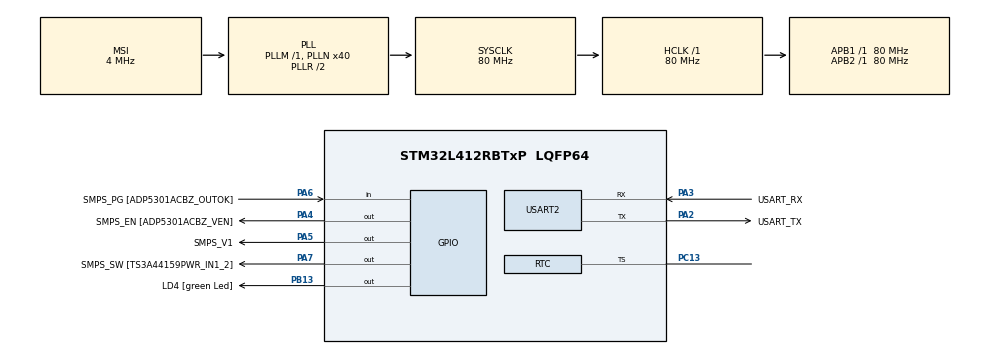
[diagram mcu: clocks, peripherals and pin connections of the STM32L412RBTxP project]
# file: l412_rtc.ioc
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Mcu.Family=STM32L4
PA2.GPIO_PuPd=GPIO_NOPULL
RCC.CortexFreq_Value=80000000
PH0-OSC_IN\ (PH0).Signal=RCC_OSC_IN
PA3.GPIO_PuPd=GPIO_NOPULL
PA2.GPIO_Speed=GPIO_SPEED_FREQ_VERY_HIGH
VP_RTC_VS_RTC_Activate.Mode=RTC_Enabled
PA6.GPIO_Label=SMPS_PG [ADP5301ACBZ_OUTOK]
PC15-OSC32_OUT\ (PC15).Mode=LSE-External-Oscillator
PB13.GPIO_Label=LD4 [green Led]
PA3.GPIO_Speed=GPIO_SPEED_FREQ_VERY_HIGH
PB13.Signal=GPIO_Output
RCC.SYSCLKSource=RCC_SYSCLKSOURCE_PLLCLK
ProjectManager.StackSize=0x400
PC14-OSC32_IN\ (PC14).Mode=LSE-External-Oscillator
PA14\ (JTCK/SWCLK).Signal=SYS_JTCK-SWCLK
RCC.HCLKFreq_Value=80000000
RCC.FLatency=FLASH_LATENCY_4
RCC.APB2TimFreq_Value=80000000
RCC.HSICalibrationValue=16
RCC.AHBFreq_Value=80000000
RCC.PREFETCH_ENABLE=1
RCC.HSE_VALUE=8000000
USART2.VirtualMode-Asynchronous=VM_ASYNC
PA13\ (JTMS/SWDIO).GPIO_Label=TMS
PA6.GPIO_PuPd=GPIO_PULLUP
PA5.GPIO_PuPd=GPIO_NOPULL
PA14\ (JTCK/SWCLK).Mode=Serial_Wire
Mcu.Package=LQFP64
PA6.Signal=GPIO_Input
PA2.GPIO_Label=USART_TX
VP_RTC_VS_RTC_Calendar.Mode=RTC_Calendar
PA14\ (JTCK/SWCLK).GPIO_Label=TCK
RCC.APB1TimFreq_Value=80000000
RCC.MSIAutoCalibration=DISABLED
PH0-OSC_IN\ (PH0).Mode=HSE-External-Clock-Source
PA4.GPIO_Label=SMPS_EN [ADP5301ACBZ_VEN]
RCC.HSI48_VALUE=48000000
PA3.Signal=USART2_RX
PB3\ (JTDO/TRACESWO).GPIO_Label=SWO
RCC.MSI_VALUE=4000000
PA13\ (JTMS/SWDIO).Mode=Serial_Wire
PC13.Signal=RTC_TS
PC15-OSC32_OUT\ (PC15).Signal=RCC_OSC32_OUT
PH1-OSC_OUT\ (PH1).Signal=RCC_OSC_OUT
PA3.Mode=Asynchronous
PB3\ (JTDO/TRACESWO).Signal=SYS_JTDO-SWO
ProjectManager.TargetToolchain=STM32CubeIDE
RCC.USBFreq_Value=4000000
PA5.Signal=GPIO_Output
board=NUCLEO-L412RB-P
RCC.VCOOutputFreq_Value=160000000
RCC.APB2Freq_Value=80000000
PA5.GPIO_ModeDefaultOutputPP=GPIO_MODE_OUTPUT_PP
RCC.ADCFreq_Value=80000000
PC13.Mode=Timestamp enabled
Mcu.Name=STM32L412RBTxP
PA2.Signal=USART2_TX
PA4.Signal=GPIO_Output
RCC.SYSCLKFreq_VALUE=80000000
PA7.GPIO_Label=SMPS_SW [TS3A44159PWR_IN1_2]
PA5.GPIO_Label=SMPS_V1
PC14-OSC32_IN\ (PC14).Signal=RCC_OSC32_IN
ProjectManager.HeapSize=0x200
RCC.HSI_VALUE=16000000
PA5.GPIO_Speed=GPIO_SPEED_FREQ_LOW
NVIC.PriorityGroup=NVIC_PRIORITYGROUP_4
PH0-OSC_IN\ (PH0).GPIO_Label=MCO
RCC.PLLN=40
PA2.Mode=Asynchronous
RCC.APB1Freq_Value=80000000
PA13\ (JTMS/SWDIO).Signal=SYS_JTMS-SWDIO
PA3.GPIO_Label=USART_RX
PA7.Signal=GPIO_Output

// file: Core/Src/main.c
/* USER CODE BEGIN Header */
/**
  ******************************************************************************
  * @file           : main.c
  * @brief          : Main program body
  ******************************************************************************
  * @attention
  *
  * <h2><center>&copy; Copyright (c) 2021 STMicroelectronics.
  * All rights reserved.</center></h2>
  *
  * This software component is licensed by ST under BSD 3-Clause license,
  * the "License"; You may not use this file except in compliance with the
  * License. You may obtain a copy of the License at:
  *                        opensource.org/licenses/BSD-3-Clause
  *
  ******************************************************************************
  */
/* USER CODE END Header */
#include "main.h"

/* USER CODE BEGIN Includes */
#include <string.h>
#include <stdio.h>
/* USER CODE END Includes */

RTC_HandleTypeDef hrtc;

UART_HandleTypeDef huart2;

void SystemClock_Config(void);
static void MX_GPIO_Init(void);
static void MX_USART2_UART_Init(void);
static void MX_RTC_Init(void);

int main(void)
{

  /* MCU Configuration--------------------------------------------------------*/

  /* Reset of all peripherals, Initializes the Flash interface and the Systick. */
  HAL_Init();

  /* Configure the system clock */
  SystemClock_Config();

  /* Initialize all configured peripherals */
  MX_GPIO_Init();
  MX_USART2_UART_Init();
  MX_RTC_Init();
  /* USER CODE BEGIN 2 */
  RTC_TimeTypeDef sTime = {16, 23, 0, RTC_HOURFORMAT12_PM, 0, 0};
  RTC_DateTypeDef sDate = {RTC_WEEKDAY_SATURDAY, RTC_MONTH_MAY, 15, 21};
  HAL_RTC_SetTime(&hrtc, &sTime, RTC_FORMAT_BIN);
  HAL_RTC_SetDate(&hrtc, &sDate, RTC_FORMAT_BIN);
  /* USER CODE END 2 */

  /* Infinite loop */
  while (1)
  {

    /* USER CODE BEGIN 3 */
	char msg[27];
	HAL_RTC_GetTime(&hrtc, &sTime, RTC_FORMAT_BIN);
	HAL_RTC_GetDate(&hrtc, &sDate, RTC_FORMAT_BIN);

	// "2020-04-16T18:34:56"

	// --------------- YEAR ----------------------------------
	sprintf(msg, "%d", 2000 + sDate.Year);
	// ----------------------------------------------------------
	sprintf(msg + strlen(msg), "-");
	// --------------- Month ----------------------------------
	if (sDate.Month < 10) {
		sprintf(msg + strlen(msg), "0%d", sDate.Month);
	} else {
		sprintf(msg + strlen(msg), "%d", sDate.Month);
	}
	// ----------------------------------------------------------
	sprintf(msg + strlen(msg), "-");
	// --------------- DAY ----------------------------------
	if (sDate.Date < 10) {
		sprintf(msg + strlen(msg), "0%d", sDate.Date);
	} else {
		sprintf(msg + strlen(msg), "%d", sDate.Date);
	}
	// ----------------------------------------------------------
	sprintf(msg + strlen(msg), "T");
	// --------------- HOURS ----------------------------------
	if (sTime.Hours < 10) {
		sprintf(msg + strlen(msg), "0%d", sTime.Hours);
	} else {
		sprintf(msg + strlen(msg), "%d", sTime.Hours);
	}
	// ----------------------------------------------------------
	sprintf(msg + strlen(msg), ":");
	// --------------- MINUTES ----------------------------------
	if (sTime.Minutes < 10) {
		sprintf(msg + strlen(msg), "0%d", sTime.Minutes);
	} else {
		sprintf(msg + strlen(msg), "%d", sTime.Minutes);
	}
	// ----------------------------------------------------------
	sprintf(msg + strlen(msg), ":");
	// --------------- SECONDS ----------------------------------
	if (sTime.Seconds < 10) {
		sprintf(msg + strlen(msg), "0%d\n\r", sTime.Seconds);
	} else {
		sprintf(msg + strlen(msg), "%d\n\r", sTime.Seconds);
	}
	// ----------------------------------------------------------
	HAL_UART_Transmit(&huart2, (uint8_t*)msg, strlen(msg), 0xFFFF);
	HAL_Delay(1000);
  }
  /* USER CODE END 3 */
}

void SystemClock_Config(void)
{
  RCC_OscInitTypeDef RCC_OscInitStruct = {0};
  RCC_ClkInitTypeDef RCC_ClkInitStruct = {0};
  RCC_PeriphCLKInitTypeDef PeriphClkInit = {0};

  /** Configure the main internal regulator output voltage
  */
  if (HAL_PWREx_ControlVoltageScaling(PWR_REGULATOR_VOLTAGE_SCALE1) != HAL_OK)
  {
    Error_Handler();
  }
  /** Initializes the RCC Oscillators according to the specified parameters
  * in the RCC_OscInitTypeDef structure.
  */
  RCC_OscInitStruct.OscillatorType = RCC_OSCILLATORTYPE_LSI|RCC_OSCILLATORTYPE_MSI;
  RCC_OscInitStruct.LSIState = RCC_LSI_ON;
  RCC_OscInitStruct.MSIState = RCC_MSI_ON;
  RCC_OscInitStruct.MSICalibrationValue = 0;
  RCC_OscInitStruct.MSIClockRange = RCC_MSIRANGE_6;
  RCC_OscInitStruct.PLL.PLLState = RCC_PLL_ON;
  RCC_OscInitStruct.PLL.PLLSource = RCC_PLLSOURCE_MSI;
  RCC_OscInitStruct.PLL.PLLM = 1;
  RCC_OscInitStruct.PLL.PLLN = 40;
  RCC_OscInitStruct.PLL.PLLQ = RCC_PLLQ_DIV2;
  RCC_OscInitStruct.PLL.PLLR = RCC_PLLR_DIV2;
  if (HAL_RCC_OscConfig(&RCC_OscInitStruct) != HAL_OK)
  {
    Error_Handler();
  }
  /** Initializes the CPU, AHB and APB buses clocks
  */
  RCC_ClkInitStruct.ClockType = RCC_CLOCKTYPE_HCLK|RCC_CLOCKTYPE_SYSCLK
                              |RCC_CLOCKTYPE_PCLK1|RCC_CLOCKTYPE_PCLK2;
  RCC_ClkInitStruct.SYSCLKSource = RCC_SYSCLKSOURCE_PLLCLK;
  RCC_ClkInitStruct.AHBCLKDivider = RCC_SYSCLK_DIV1;
  RCC_ClkInitStruct.APB1CLKDivider = RCC_HCLK_DIV1;
  RCC_ClkInitStruct.APB2CLKDivider = RCC_HCLK_DIV1;

  if (HAL_RCC_ClockConfig(&RCC_ClkInitStruct, FLASH_LATENCY_4) != HAL_OK)
  {
    Error_Handler();
  }
  PeriphClkInit.PeriphClockSelection = RCC_PERIPHCLK_RTC|RCC_PERIPHCLK_USART2;
  PeriphClkInit.Usart2ClockSelection = RCC_USART2CLKSOURCE_PCLK1;
  PeriphClkInit.RTCClockSelection = RCC_RTCCLKSOURCE_LSI;
  if (HAL_RCCEx_PeriphCLKConfig(&PeriphClkInit) != HAL_OK)
  {
    Error_Handler();
  }
}

static void MX_RTC_Init(void)
{

  RTC_TimeTypeDef sTime = {0};
  RTC_DateTypeDef sDate = {0};

  /** Initialize RTC Only
  */
  hrtc.Instance = RTC;
  hrtc.Init.HourFormat = RTC_HOURFORMAT_24;
  hrtc.Init.AsynchPrediv = 127;
  hrtc.Init.SynchPrediv = 255;
  hrtc.Init.OutPut = RTC_OUTPUT_DISABLE;
  hrtc.Init.OutPutRemap = RTC_OUTPUT_REMAP_NONE;
  hrtc.Init.OutPutPolarity = RTC_OUTPUT_POLARITY_HIGH;
  hrtc.Init.OutPutType = RTC_OUTPUT_TYPE_OPENDRAIN;
  hrtc.Init.OutPutPullUp = RTC_OUTPUT_PULLUP_NONE;
  if (HAL_RTC_Init(&hrtc) != HAL_OK)
  {
    Error_Handler();
  }

  /** Initialize RTC and set the Time and Date
  */
  sTime.Hours = 0x0;
  sTime.Minutes = 0x0;
  sTime.Seconds = 0x0;
  sTime.DayLightSaving = RTC_DAYLIGHTSAVING_NONE;
  sTime.StoreOperation = RTC_STOREOPERATION_RESET;
  if (HAL_RTC_SetTime(&hrtc, &sTime, RTC_FORMAT_BCD) != HAL_OK)
  {
    Error_Handler();
  }
  sDate.WeekDay = RTC_WEEKDAY_MONDAY;
  sDate.Month = RTC_MONTH_JANUARY;
  sDate.Date = 0x1;
  sDate.Year = 0x0;

  if (HAL_RTC_SetDate(&hrtc, &sDate, RTC_FORMAT_BCD) != HAL_OK)
  {
    Error_Handler();
  }
  /** Enable the TimeStamp
  */
  if (HAL_RTCEx_SetTimeStamp(&hrtc, RTC_TIMESTAMPEDGE_RISING, RTC_TIMESTAMPPIN_DEFAULT) != HAL_OK)
  {
    Error_Handler();
  }

}

static void MX_USART2_UART_Init(void)
{

  huart2.Instance = USART2;
  huart2.Init.BaudRate = 115200;
  huart2.Init.WordLength = UART_WORDLENGTH_8B;
  huart2.Init.StopBits = UART_STOPBITS_1;
  huart2.Init.Parity = UART_PARITY_NONE;
  huart2.Init.Mode = UART_MODE_TX_RX;
  huart2.Init.HwFlowCtl = UART_HWCONTROL_NONE;
  huart2.Init.OverSampling = UART_OVERSAMPLING_16;
  huart2.Init.OneBitSampling = UART_ONE_BIT_SAMPLE_DISABLE;
  huart2.AdvancedInit.AdvFeatureInit = UART_ADVFEATURE_NO_INIT;
  if (HAL_UART_Init(&huart2) != HAL_OK)
  {
    Error_Handler();
  }

}

static void MX_GPIO_Init(void)
{
  GPIO_InitTypeDef GPIO_InitStruct = {0};

  /* GPIO Ports Clock Enable */
  __HAL_RCC_GPIOC_CLK_ENABLE();
  __HAL_RCC_GPIOH_CLK_ENABLE();
  __HAL_RCC_GPIOA_CLK_ENABLE();
  __HAL_RCC_GPIOB_CLK_ENABLE();

  /*Configure GPIO pin Output Level */
  HAL_GPIO_WritePin(GPIOA, SMPS_EN_Pin|SMPS_V1_Pin|SMPS_SW_Pin, GPIO_PIN_RESET);

  /*Configure GPIO pin Output Level */
  HAL_GPIO_WritePin(LD4_GPIO_Port, LD4_Pin, GPIO_PIN_RESET);

  /*Configure GPIO pins : SMPS_EN_Pin SMPS_V1_Pin SMPS_SW_Pin */
  GPIO_InitStruct.Pin = SMPS_EN_Pin|SMPS_V1_Pin|SMPS_SW_Pin;
  GPIO_InitStruct.Mode = GPIO_MODE_OUTPUT_PP;
  GPIO_InitStruct.Pull = GPIO_NOPULL;
  GPIO_InitStruct.Speed = GPIO_SPEED_FREQ_LOW;
  HAL_GPIO_Init(GPIOA, &GPIO_InitStruct);

  /*Configure GPIO pin : SMPS_PG_Pin */
  GPIO_InitStruct.Pin = SMPS_PG_Pin;
  GPIO_InitStruct.Mode = GPIO_MODE_INPUT;
  GPIO_InitStruct.Pull = GPIO_PULLUP;
  HAL_GPIO_Init(SMPS_PG_GPIO_Port, &GPIO_InitStruct);

  /*Configure GPIO pin : LD4_Pin */
  GPIO_InitStruct.Pin = LD4_Pin;
  GPIO_InitStruct.Mode = GPIO_MODE_OUTPUT_PP;
  GPIO_InitStruct.Pull = GPIO_NOPULL;
  GPIO_InitStruct.Speed = GPIO_SPEED_FREQ_LOW;
  HAL_GPIO_Init(LD4_GPIO_Port, &GPIO_InitStruct);

}

void Error_Handler(void)
{
  __disable_irq();
  while (1)
  {
  }
}

/************************ (C) COPYRIGHT STMicroelectronics *****END OF FILE****/
